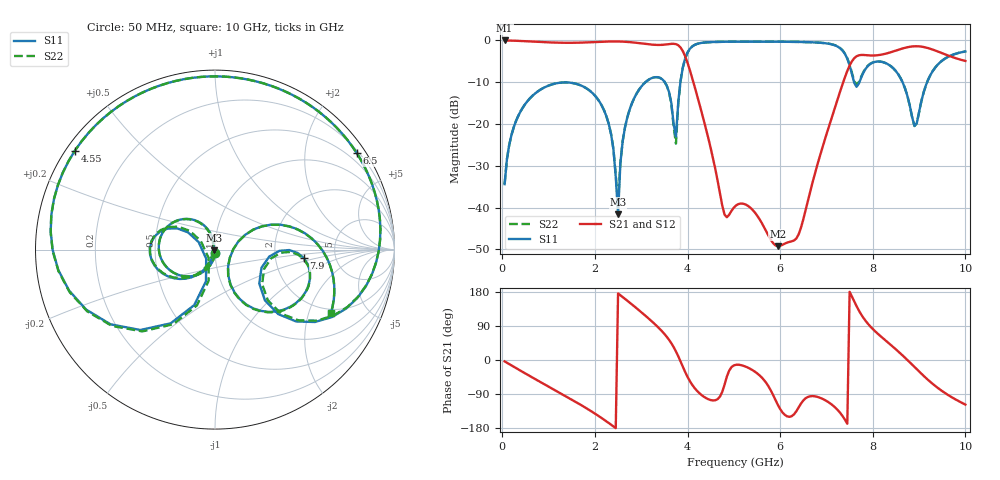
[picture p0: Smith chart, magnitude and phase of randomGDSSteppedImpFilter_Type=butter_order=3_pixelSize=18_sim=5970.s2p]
! freq	dB(S11)	phase(S11)	dB(S12)	phase(S12)
!  dB(S21)	phase(S21)	dB(S22)	phase(S22)
!S-par simulation data
#  GHz  S  DB  R 50
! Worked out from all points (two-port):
!   200 points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, 50 MHz to 10 GHz, reference 50 ohm
!   highest |S21| = -0.02 dB at 50 MHz (marker M1); lowest = -49.2 dB at 5.95 GHz (marker M2)
!   |S21| within 3 dB of the highest: start of sweep to 3.917 GHz; 8.334 GHz to 9.487 GHz (1.153 GHz wide, 12.9 % of centre)
!   lowest |S11| = -41.7 dB at 2.5 GHz (marker M3), VSWR 1.02, Z = 49.3 - j0.439 ohm
!   |S11| at or under -10 dB: start of sweep to 3.092 GHz; 3.508 GHz to 3.846 GHz (338.1 MHz wide, 9.19 % of centre); 8.642 GHz to 9.174 GHz (532.4 MHz wide, 5.98 % of centre) (the widest 3 of 4)
!   |S22| runs from -39.1 to -0.3 dB; largest |S21 - S12| = 0
!   S11 on the Smith chart (normalised r, x): 50 MHz: 1.00, -0.04; 4.55 GHz: 0.02, +0.32; 6.5 GHz: 0.26, +3.24; 7.9 GHz: 2.93, -0.36; 10 GHz: 1.85, -2.83
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0.05  -34.41 -88.7  -0.02 -3.7  -0.02 -3.7  -34.40 -88.7
0.55  -14.46 -129.3  -0.23 -39.2  -0.23 -39.2  -14.46 -129.3
1.75  -11.06 147.6  -0.52 -122.4  -0.52 -122.4  -11.05 147.8
2.3  -20.06 106.4  -0.28 -166.4  -0.28 -166.4  -20.04 107.9
2.5  -41.66 -147.4  -0.27 175.6  -0.27 175.6  -39.12 -158.5
2.6  -24.11 -110.7  -0.30 166.1  -0.30 166.1  -24.05 -114.2
2.75  -16.55 -121.5  -0.41 151.5  -0.41 151.5  -16.54 -123.3
3.4  -8.94 173.4  -1.10 82.1  -1.10 82.1  -8.95 172.0
3.75  -23.03 -134.1  -0.90 22.6  -0.90 22.6  -24.72 -128.0
3.95  -4.28 -132.9  -3.84 -31.9  -3.84 -31.9  -4.30 -131.6
4.2  -0.87 -179.9  -12.92 -80.8  -12.92 -80.8  -0.87 -179.4
4.55  -0.39 144.7  -28.22 -106.8  -28.22 -106.8  -0.40 144.9
4.8  -0.34 126.9  -41.71 -64.9  -41.71 -64.9  -0.34 127.1
5.05  -0.32 111.6  -39.48 -12.5  -39.48 -12.5  -0.32 111.7
5.95  -0.32 63.2  -49.25 -118.3  -49.25 -118.3  -0.32 63.4
6.5  -0.40 34.1  -42.81 -106.7  -42.81 -106.7  -0.39 34.3
6.7  -0.46 22.7  -33.97 -95.2  -33.97 -95.2  -0.46 23.0
7.4  -3.25 -35.9  -8.78 -157.7  -8.78 -157.7  -3.19 -34.8
7.9  -6.06 -5.4  -3.58 95.0  -3.58 95.0  -5.99 -6.5
8.35  -5.87 -41.1  -2.97 43.9  -2.97 43.9  -5.85 -41.6
8.9  -20.47 -28.8  -1.42 -18.3  -1.42 -18.3  -20.51 -29.2
10  -2.67 -28.5  -4.92 -117.7  -4.92 -117.7  -2.67 -28.6
